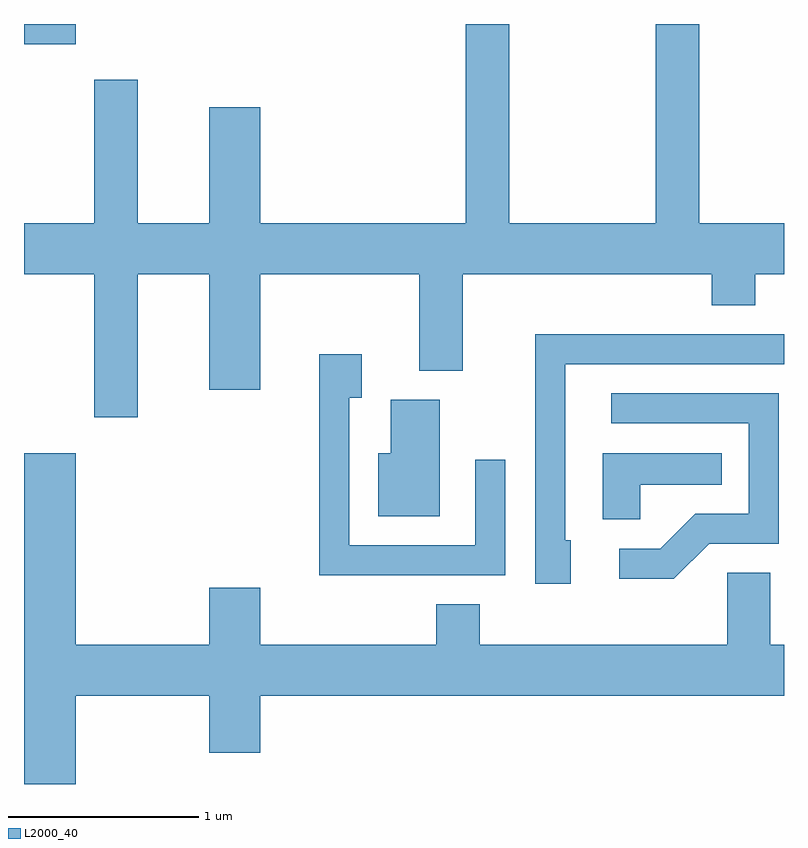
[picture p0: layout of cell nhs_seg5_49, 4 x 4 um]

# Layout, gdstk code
import gdstk
lib = gdstk.Library(unit=1e-6, precision=1e-09)
def R(c, l, rs):  # rectangles x0, y0, x1, y1
    for r in rs: c.add(gdstk.rectangle(r[:2], r[2:], *l))
def P(c, l, *ps):  # polygons
    for p in ps: c.add(gdstk.Polygon(p, *l))
L2000_40 = (2000, 40)

nhs_seg5_49 = lib.new_cell('nhs_seg5_49')
R(nhs_seg5_49, L2000_40, [(185.611,1497.966,185.884,1498.072)])
P(nhs_seg5_49, L2000_40, [(186.209,1496.756),(186.586,1496.756),(186.586,1496.146),(186.854,1496.146),(186.854,1496.756),(187.691,1496.756),(187.691,1496.246),(187.919,1496.246),(187.919,1496.756),(189.231,1496.756),(189.231,1496.591),(189.459,1496.591),(189.459,1496.756),(189.611,1496.756),(189.611,1497.024),(189.164,1497.024),(189.164,1498.072),(188.936,1498.072),(188.936,1497.024),(188.164,1497.024),(188.164,1498.072),(187.936,1498.072),(187.936,1497.024),(186.854,1497.024),(186.854,1497.634),(186.586,1497.634),(186.586,1497.024),(186.209,1497.024),(186.209,1497.779),(185.981,1497.779),(185.981,1497.024),(185.611,1497.024),(185.611,1496.756),(185.981,1496.756),(185.981,1496.001),(186.209,1496.001)],
  [(188.489,1495.354),(188.459,1495.354),(188.459,1496.281),(189.611,1496.281),(189.611,1496.439),(188.301,1496.439),(188.301,1495.126),(188.489,1495.126)],
  [(188.144,1495.778),(187.986,1495.778),(187.986,1495.329),(187.324,1495.329),(187.324,1496.106),(187.389,1496.106),(187.389,1496.334),(187.166,1496.334),(187.166,1495.171),(188.144,1495.171)],
  [(189.217,1495.336),(189.584,1495.336),(189.584,1496.129),(188.703,1496.129),(188.703,1495.971),(189.426,1495.971),(189.426,1495.494),(189.144,1495.494),(188.959,1495.309),(188.743,1495.309),(188.743,1495.151),(189.032,1495.151)],
  [(187.799,1496.094),(187.541,1496.094),(187.541,1495.814),(187.476,1495.814),(187.476,1495.481),(187.799,1495.481)],
  [(185.884,1494.536),(186.586,1494.536),(186.586,1494.236),(186.854,1494.236),(186.854,1494.536),(189.611,1494.536),(189.611,1494.804),(189.539,1494.804),(189.539,1495.184),(189.311,1495.184),(189.311,1494.804),(188.009,1494.804),(188.009,1495.019),(187.781,1495.019),(187.781,1494.804),(186.854,1494.804),(186.854,1495.104),(186.586,1495.104),(186.586,1494.804),(185.884,1494.804),(185.884,1495.814),(185.611,1495.814),(185.611,1494.072),(185.884,1494.072)],
  [(188.854,1495.646),(189.283,1495.646),(189.283,1495.814),(188.656,1495.814),(188.656,1495.466),(188.854,1495.466)])

lib.write_gds('nhs_seg5_49.gds')
